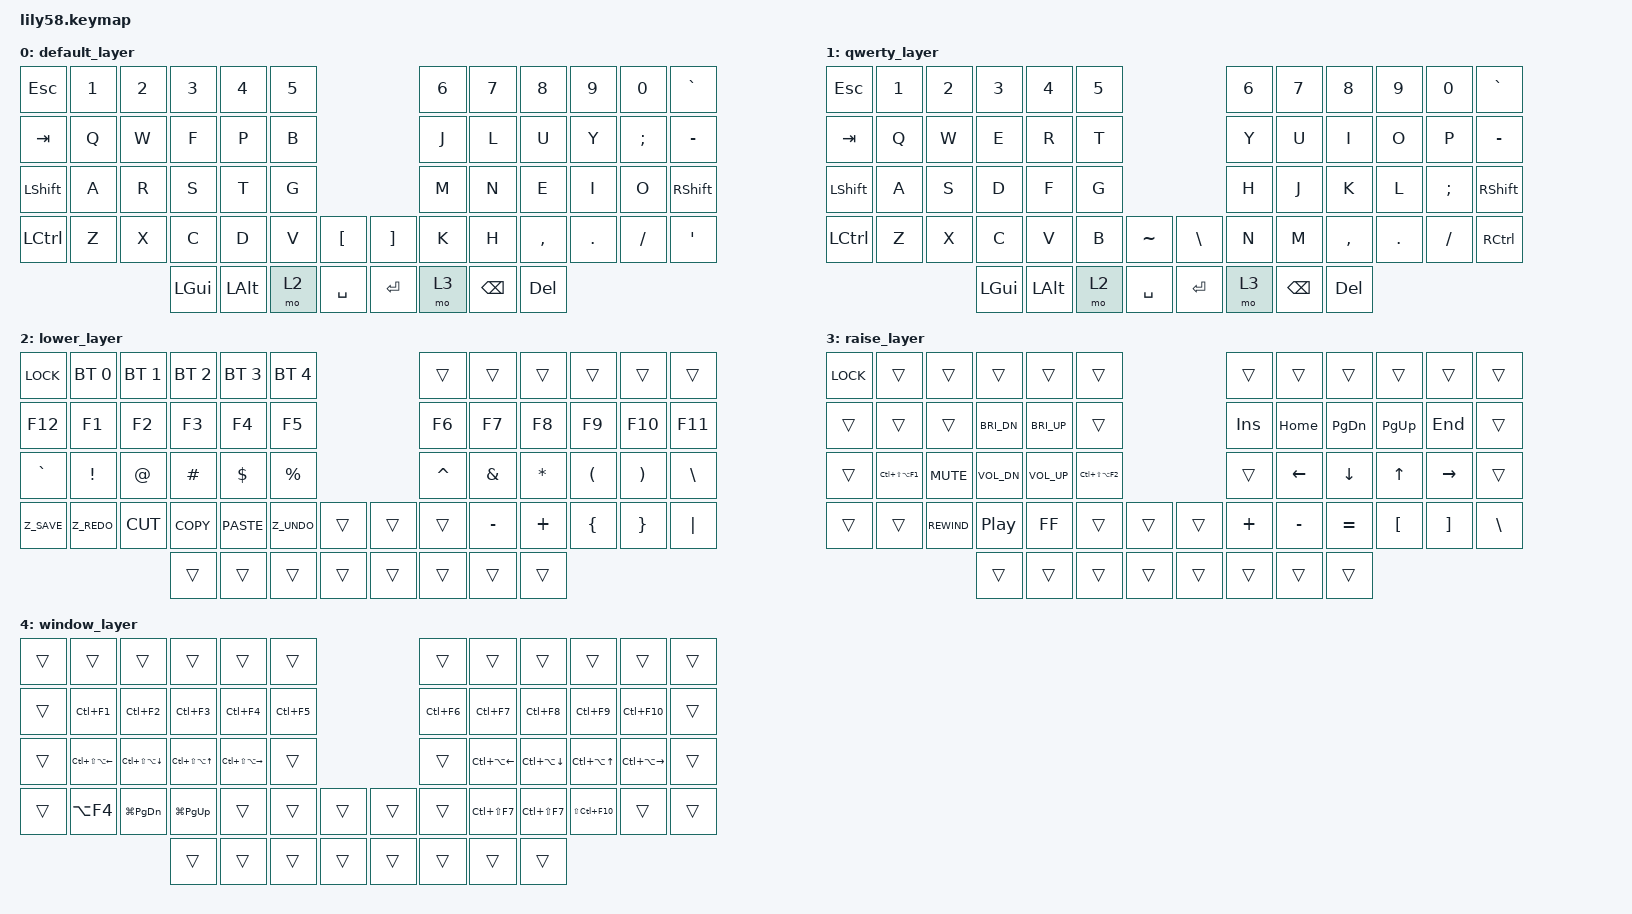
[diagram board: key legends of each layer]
/*
 * Copyright (c) 2020 The ZMK Contributors
 *
 * SPDX-License-Identifier: MIT
 */

#include <behaviors.dtsi>
#include <dt-bindings/zmk/bt.h>
#include <dt-bindings/zmk/keys.h>

#define DEFAULT 0
#define LOWER 1
#define RAISE 2

/ {
    combos {
        compatible = "zmk,combos";

        combo_zmk_studio_unlock {
            bindings = <&studio_unlock>;
            key-positions = <24 36 42 53>;
            require-prior-idle-ms = <500>;
        };

        combo_bt_clear {
            bindings = <&bt BT_CLR>;
            key-positions = <52 0 36 42>;
            require-prior-idle-ms = <500>;
        };

        combo_toggle_qwerty {
            bindings = <&tog 1>;
            key-positions = <5 17 24 36>;
        };

        Caps_Word {
            bindings = <&caps_word>;
            key-positions = <24 35>;
        };

        window_toggle {
            bindings = <&mo 4>;
            key-positions = <52 55>;
        };
    };

    macros {
        Z_UNDO: Z_UNDO {
            compatible = "zmk,behavior-macro";
            #binding-cells = <0>;
            bindings = <&kp LC(Z)>;
            label = "Z_UNDO";
        };

        Z_REDO: Z_REDO {
            compatible = "zmk,behavior-macro";
            #binding-cells = <0>;
            bindings = <&kp LC(LS(Z))>;
            label = "Z_REDO";
        };

        Z_SAVE: Z_SAVE {
            compatible = "zmk,behavior-macro";
            #binding-cells = <0>;
            bindings = <&kp LC(S)>;
            label = "Z_SAVE";
        };
    };

    keymap {
        compatible = "zmk,keymap";

        default_layer {
            bindings = <
&kp ESC     &kp N1  &kp N2  &kp N3    &kp N4    &kp N5                         &kp N6  &kp N7    &kp N8     &kp N9   &kp N0    &kp GRAVE
&kp TAB     &kp Q   &kp W   &kp F     &kp P     &kp B                          &kp J   &kp L     &kp U      &kp Y    &kp SEMI  &kp MINUS
&kp LSHIFT  &kp A   &kp R   &kp S     &kp T     &kp G                          &kp M   &kp N     &kp E      &kp I    &kp O     &kp RSHIFT
&kp LCTRL   &kp Z   &kp X   &kp C     &kp D     &kp V   &kp LBKT     &kp RBKT  &kp K   &kp H     &kp COMMA  &kp DOT  &kp FSLH  &kp SQT
                            &kp LGUI  &kp LALT  &mo 2   &kp SPACE    &kp RET   &mo 3   &kp BSPC  &kp DEL
            >;
        };

        qwerty_layer {
            bindings = <
&kp ESC    &kp N1  &kp N2  &kp N3    &kp N4    &kp N5                              &kp N6  &kp N7    &kp N8     &kp N9   &kp N0    &kp GRAVE
&kp TAB    &kp Q   &kp W   &kp E     &kp R     &kp T                               &kp Y   &kp U     &kp I      &kp O    &kp P     &kp MINUS
&kp LSHFT  &kp A   &kp S   &kp D     &kp F     &kp G                               &kp H   &kp J     &kp K      &kp L    &kp SEMI  &kp RSHFT
&kp LCTRL  &kp Z   &kp X   &kp C     &kp V     &kp B   &kp TILDE    &kp BACKSLASH  &kp N   &kp M     &kp COMMA  &kp DOT  &kp FSLH  &kp RCTRL
                           &kp LGUI  &kp LALT  &mo 2   &kp SPACE    &kp RET        &mo 3   &kp BSPC  &kp DEL
            >;
        };

        lower_layer {
            bindings = <
&kp K_LOCK  &bt BT_SEL 0  &bt BT_SEL 1  &bt BT_SEL 2  &bt BT_SEL 3  &bt BT_SEL 4                    &trans     &trans     &trans     &trans    &trans    &trans
&kp F12     &kp F1        &kp F2        &kp F3        &kp F4        &kp F5                          &kp F6     &kp F7     &kp F8     &kp F9    &kp F10   &kp F11
&kp GRAVE   &kp EXCL      &kp AT        &kp HASH      &kp DOLLAR    &kp PRCNT                       &kp CARET  &kp AMPS   &kp ASTRK  &kp LPAR  &kp RPAR  &kp BSLH
&Z_SAVE     &Z_REDO       &kp K_CUT     &kp K_COPY    &kp K_PASTE   &Z_UNDO       &trans    &trans  &trans     &kp MINUS  &kp PLUS   &kp LBRC  &kp RBRC  &kp PIPE
                                        &trans        &trans        &trans        &trans    &trans  &trans     &trans     &trans
            >;
        };

        raise_layer {
            bindings = <
&kp K_LOCK  &trans              &trans        &trans        &trans        &trans                                &trans    &trans     &trans     &trans     &trans     &trans
&trans      &trans              &trans        &kp C_BRI_DN  &kp C_BRI_UP  &trans                                &kp INS   &kp HOME   &kp PG_DN  &kp PG_UP  &kp END    &trans
&trans      &kp LC(LS(LA(F1)))  &kp K_MUTE    &kp C_VOL_DN  &kp C_VOL_UP  &kp LC(LS(LA(F2)))                    &trans    &kp LEFT   &kp DOWN   &kp UP     &kp RIGHT  &trans
&trans      &trans              &kp C_REWIND  &kp C_PP      &kp C_FF      &trans              &trans    &trans  &kp PLUS  &kp MINUS  &kp EQUAL  &kp LBKT   &kp RBKT   &kp BSLH
                                              &trans        &trans        &trans              &trans    &trans  &trans    &trans     &trans
            >;
        };

        window_layer {
            bindings = <
&trans  &trans                &trans                &trans              &trans                 &trans                        &trans      &trans            &trans            &trans           &trans             &trans
&trans  &kp LC(F1)            &kp LC(F2)            &kp LC(F3)          &kp LC(F4)             &kp LC(F5)                    &kp LC(F6)  &kp LC(F7)        &kp LC(F8)        &kp LC(F9)       &kp LC(F10)        &trans
&trans  &kp LC(LS(LA(LEFT)))  &kp LC(LS(LA(DOWN)))  &kp LC(LS(LA(UP)))  &kp LC(LS(LA(RIGHT)))  &trans                        &trans      &kp LC(LA(LEFT))  &kp LC(LA(DOWN))  &kp LC(LA(UP))   &kp LC(LA(RIGHT))  &trans
&trans  &kp LA(F4)            &kp LG(PG_DN)         &kp LG(PG_UP)       &trans                 &trans      &trans    &trans  &trans      &kp LC(LS(F7))    &kp LC(LS(F7))    &kp LS(LC(F10))  &trans             &trans
                                                    &trans              &trans                 &trans      &trans    &trans  &trans      &trans            &trans
            >;
        };

        extra1 { status = "reserved"; };

        extra2 { status = "reserved"; };
    };
};
